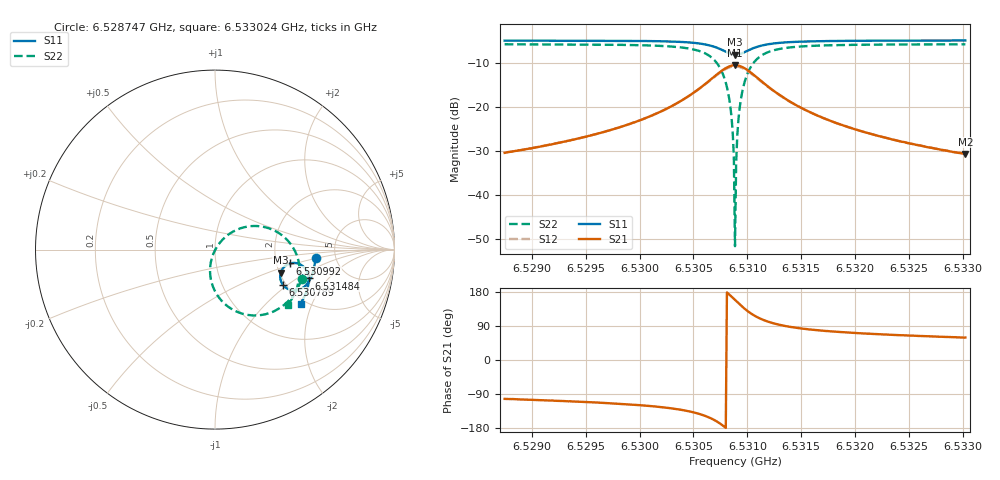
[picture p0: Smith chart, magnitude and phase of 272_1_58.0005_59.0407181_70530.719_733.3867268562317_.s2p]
#  HZ  S  RI  R  50.00
! Rohde & Schwarz Vector Network Analyzer
! Rohde-Schwarz,ZNB20-2Port,1311601062101988,3.16
! Created: UTC 3/21/2024, 1:02:25 AM
! freq[Hz]  re:S11  im:S11  re:S21  im:S21  re:S12  im:S12  re:S22  im:S22
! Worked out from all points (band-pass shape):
!   401 points, 6.528747 GHz to 6.533024 GHz, reference 50 ohm
!   highest |S21| = -10.60 dB at 6.530885 GHz (marker M1); lowest = -30.8 dB at 6.533024 GHz (marker M2)
!   |S21| within 3 dB of the highest: 6.530672 GHz to 6.5311 GHz (427.8 kHz wide, 0.00655 % of centre)
!   lowest |S11| = -8.2 dB at 6.530885 GHz (marker M3), VSWR 2.27, Z = 101 - j30.8 ohm
!   |S11| at or under -10 dB: nowhere
!   |S22| runs from -51.7 to -5.8 dB; largest |S21 - S12| = 0.012
!   S11 on the Smith chart (normalised r, x): 6.528747 GHz: 3.50, -0.47; 6.530789 GHz: 1.93, -0.92; 6.530992 GHz: 2.38, -0.45; 6.531484 GHz: 2.76, -1.26; 6.533024 GHz: 1.87, -1.65
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6.5287468e9  0.5601 -0.046  -0.00654 -0.0292  -0.00708 -0.0291  0.4844 -0.1618
6.5294632e9  0.5511 -0.1054  -0.0156 -0.0418  -0.0165 -0.0413  0.4542 -0.2265
6.5301795e9  0.5243 -0.1757  -0.048 -0.0717  -0.0498 -0.0703  0.3751 -0.3159
6.5306072e9  0.456 -0.2261  -0.1517 -0.0971  -0.154 -0.091  0.1759 -0.3627
6.5307141e9  0.4125 -0.222  -0.2189 -0.072  -0.2182 -0.0628  0.0626 -0.3095
6.530789e9  0.3783 -0.1959  -0.2685 -0.0156  -0.2632 -0.00614  -0.0114 -0.2063
6.530821e9  0.3679 -0.1767  -0.2817 0.0217  -0.2741 0.03  -0.0265 -0.1424
6.5308424e9  0.3639 -0.1615  -0.285 0.0497  -0.276 0.0569  -0.0268 -0.0958
6.5308531e9  0.3632 -0.1535  -0.2846 0.0644  -0.2752 0.0708  -0.0236 -0.072
6.5308638e9  0.3632 -0.1454  -0.2828 0.079  -0.2729 0.0845  -0.018 -0.0482
6.5308745e9  0.3642 -0.1373  -0.2795 0.0937  -0.2694 0.0983  -0.00995 -0.0249
6.5308852e9  0.3661 -0.1291  -0.2748 0.1079  -0.2645 0.1116  0.000516 -0.00256
6.5309066e9  0.3724 -0.1139  -0.2613 0.135  -0.2509 0.1366  0.0274 0.0386
6.5309173e9  0.3766 -0.1069  -0.2525 0.1469  -0.2425 0.1478  0.0437 0.057
6.5309386e9  0.387 -0.0948  -0.2322 0.1679  -0.2232 0.1674  0.0802 0.0877
6.5309921e9  0.4189 -0.0769  -0.1743 0.1989  -0.1677 0.1961  0.181 0.1284
6.5310562e9  0.455 -0.0756  -0.1108 0.2027  -0.1069 0.2  0.2878 0.1226
6.5311525e9  0.4912 -0.0936  -0.0486 0.1784  -0.0465 0.1765  0.3889 0.0671
6.5314839e9  0.5222 -0.1605  0.0107 0.0987  0.0119 0.0983  0.4709 -0.0985
6.5316015e9  0.522 -0.1773  0.0148 0.083  0.0158 0.0827  0.4718 -0.1332
6.5323179e9  0.5032 -0.2495  0.0171 0.0399  0.0178 0.0396  0.4427 -0.247
6.5330235e9  0.4764 -0.3019  0.0148 0.0249  0.0155 0.0247  0.4074 -0.3071
